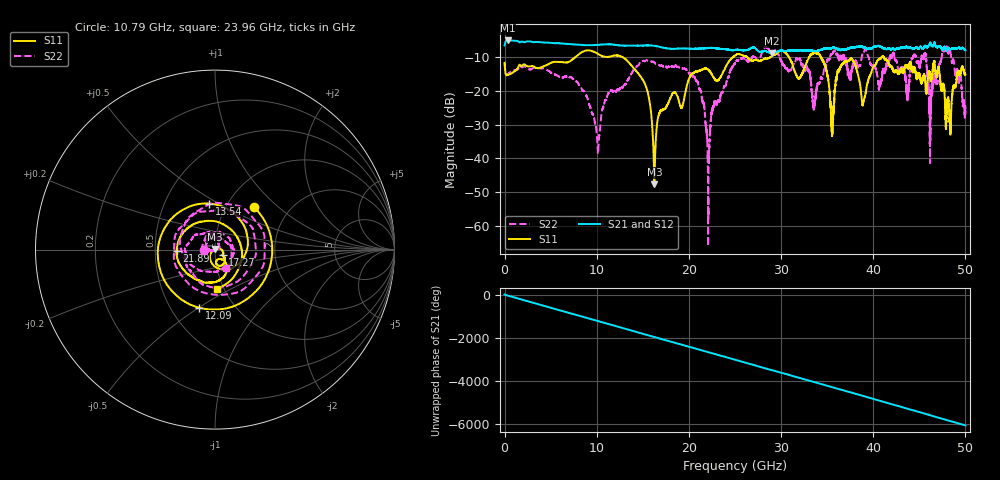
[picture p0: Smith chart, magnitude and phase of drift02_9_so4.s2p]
!Created with skrf (http://scikit-rf.org).
# Hz S RI R 50.0
!freq ReS11 ImS11 ReS21 ImS21 ReS12 ImS12 ReS22 ImS22
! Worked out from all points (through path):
!   10001 points, 300 kHz to 50 GHz, reference 50 ohm
!   highest |S21| = -5.04 dB at 320.3 MHz (marker M1); lowest = -8.9 dB at 28.98 GHz (marker M2)
!   group delay of S21, straight-line fit = 336 ps
!   lowest |S11| = -47.7 dB at 16.25 GHz (marker M3), VSWR 1.01, Z = 49.8 + j0.366 ohm
!   |S11| at or under -10 dB: start of sweep to 7.669 GHz; 12.82 GHz to 24.77 GHz (11.95 GHz wide, 63.6 % of centre); 41.13 GHz to end of sweep (the widest 3 of 15)
!   |S22| runs from -66.0 to -6.8 dB; largest |S21 - S12| = 0.03
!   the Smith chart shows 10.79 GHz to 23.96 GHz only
!   S11 on the Smith chart (normalised r, x): 10.79 GHz: 1.34, +0.71; 12.09 GHz: 0.69, -0.50; 13.54 GHz: 0.82, +0.45; 17.27 GHz: 1.09, -0.07; 21.89 GHz: 0.65, -0.01; 23.96 GHz: 0.93, -0.43
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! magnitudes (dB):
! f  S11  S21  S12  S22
! 300 kHz  -11.7  -6.5  -6.5  -11.7
! 320.3 MHz  -15.3  -5.0  -5.0  -15.1
! 8.335 GHz  -8.6  -6.4  -6.4  -19.2
! 10.11 GHz  -9.0  -6.3  -6.3  -37.6
! 10.79 GHz  -9.9  -6.2  -6.2  -23.9
! 12.09 GHz  -9.5  -6.4  -6.4  -20.2
! 13.54 GHz  -11.7  -6.6  -6.6  -15.9
! 16.25 GHz  -47.7  -6.6  -6.6  -11.6
! 16.67 GHz  -27.6  -6.8  -6.8  -12.2
! 17.27 GHz  -25.5  -7.2  -7.2  -12.9
! 20.75 GHz  -14.3  -7.5  -7.5  -16.9
! 21.89 GHz  -13.4  -7.3  -7.3  -31.1
! 23.96 GHz  -13.2  -7.6  -7.6  -18.5
! 25 GHz  -9.5  -7.9  -7.9  -11.8
! 28.98 GHz  -9.8  -8.9  -8.9  -8.1
! 33.34 GHz  -9.2  -8.0  -8.0  -20.1
! 35.55 GHz  -30.6  -7.2  -7.3  -9.2
! 36.79 GHz  -11.7  -7.9  -8.0  -9.6
! 41.67 GHz  -12.0  -7.4  -7.5  -11.8
! 46.24 GHz  -16.5  -5.9  -6.1  -25.4
! 48.12 GHz  -21.9  -7.2  -7.2  -8.6
! 50 GHz  -15.2  -8.0  -7.9  -25.3
